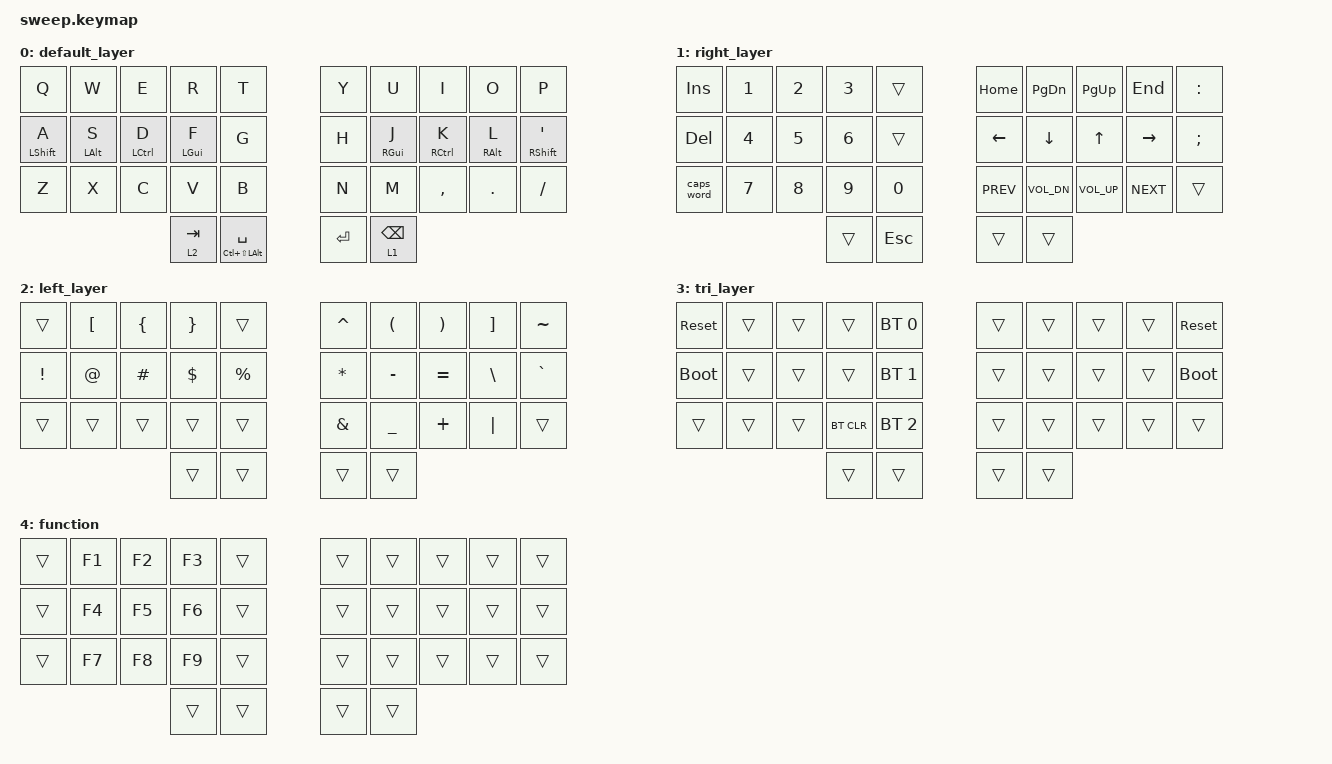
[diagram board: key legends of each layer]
#include <behaviors.dtsi>
#include <dt-bindings/zmk/bt.h>
#include <dt-bindings/zmk/keys.h>

/ {
    behaviors {
        ht: hold_tap {
            compatible = "zmk,behavior-hold-tap";
            #binding-cells = <2>;
            flavor = "tap-preferred";
            tapping-term-ms = <220>;
            quick-tap-ms = <150>;
            require-prior-idle-ms = <100>;
            bindings = <&kp>, <&kp>;
        };
    };

    conditional_layers {
        compatible = "zmk,conditional-layers";

        tri_layer {
            if-layers = <1 2>;
            then-layer = <3>;
        };
    };

    combos {
        compatible = "zmk,combos";

        tab {
            bindings = <&kp TAB>;
            key-positions = <0 1>;
        };
    };

    keymap {
        compatible = "zmk,keymap";

        default_layer {
            bindings = <
&kp Q         &kp W       &kp E        &kp R       &kp T                    &kp Y       &kp U       &kp I        &kp O       &kp P
&ht LSHIFT A  &ht LALT S  &ht LCTRL D  &ht LGUI F  &kp G                    &kp H       &ht RGUI J  &ht RCTRL K  &ht RALT L  &ht RSHIFT SQT
&kp Z         &kp X       &kp C        &kp V       &kp B                    &kp N       &kp M       &kp COMMA    &kp DOT     &kp FSLH
                                       &lt 2 TAB   &mt LC(LS(LALT)) SPC     &kp RETURN  &lt 1 BSPC
            >;
        };

        right_layer {
            bindings = <
&kp INS     &kp N1  &kp N2  &kp N3  &trans   &kp HOME    &kp PG_DN     &kp PG_UP     &kp END     &kp COLON
&kp DEL     &kp N4  &kp N5  &kp N6  &trans   &kp LEFT    &kp DOWN      &kp UP        &kp RIGHT   &kp SEMI
&caps_word  &kp N7  &kp N8  &kp N9  &kp N0   &kp K_PREV  &kp C_VOL_DN  &kp C_VOL_UP  &kp K_NEXT  &trans
                            &trans  &kp ESC  &trans      &trans
            >;
        };

        left_layer {
            bindings = <
&trans    &kp LBKT  &kp LBRC  &kp RBRC  &trans     &kp CARET  &kp LPAR   &kp RPAR   &kp RBKT  &kp TILDE
&kp EXCL  &kp AT    &kp HASH  &kp DLLR  &kp PRCNT  &kp ASTRK  &kp MINUS  &kp EQUAL  &kp BSLH  &kp GRAVE
&trans    &trans    &trans    &trans    &trans     &kp AMPS   &kp UNDER  &kp PLUS   &kp PIPE  &trans
                              &trans    &trans     &trans     &trans
            >;
        };

        tri_layer {
            bindings = <
&sys_reset   &trans  &trans  &trans      &bt BT_SEL 0  &trans  &trans  &trans  &trans  &sys_reset
&bootloader  &trans  &trans  &trans      &bt BT_SEL 1  &trans  &trans  &trans  &trans  &bootloader
&trans       &trans  &trans  &bt BT_CLR  &bt BT_SEL 2  &trans  &trans  &trans  &trans  &trans
                             &trans      &trans        &trans  &trans
            >;
        };

        function {
            bindings = <
&trans  &kp F1  &kp F2  &kp F3  &trans  &trans  &trans  &trans  &trans  &trans
&trans  &kp F4  &kp F5  &kp F6  &trans  &trans  &trans  &trans  &trans  &trans
&trans  &kp F7  &kp F8  &kp F9  &trans  &trans  &trans  &trans  &trans  &trans
                        &trans  &trans  &trans  &trans
            >;
        };
    };
};
